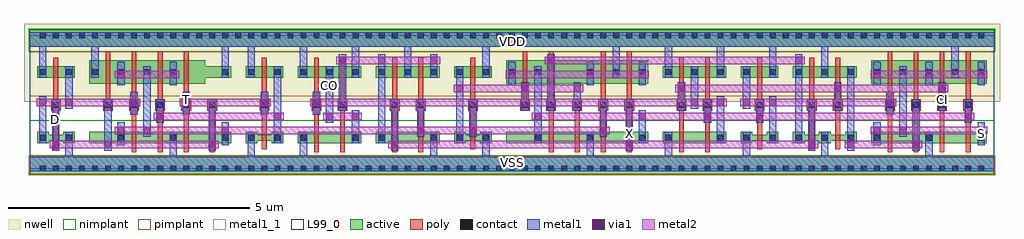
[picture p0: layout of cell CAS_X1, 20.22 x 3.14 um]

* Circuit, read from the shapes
.subckt CAS_X1 CI CO D S T VDD VSS X
M1 VSS D n1 VSS nfet w=0.12u l=0.1u
M2 n2 n1 n3 VSS nfet w=0.24u l=0.1u
M3 VSS n4 n2 VSS nfet w=0.24u l=0.1u
M4 n5 T VSS VSS nfet w=0.24u l=0.1u
M5 n3 D n5 VSS nfet w=0.24u l=0.1u
M6 n4 T VSS VSS nfet w=0.12u l=0.1u
M7 n6 n7 VSS VSS nfet w=0.24u l=0.1u
M8 CO n8 n6 VSS nfet w=0.24u l=0.1u
M9 n9 X n8 VSS nfet w=0.24u l=0.1u
M10 VSS n3 n9 VSS nfet w=0.24u l=0.1u
M11 VSS n3 n10 VSS nfet w=0.12u l=0.1u
M12 n11 n12 n13 VSS nfet w=0.24u l=0.1u
M13 VSS n10 n11 VSS nfet w=0.24u l=0.1u
M14 n14 n3 VSS VSS nfet w=0.24u l=0.1u
M15 n13 X n14 VSS nfet w=0.24u l=0.1u
M16 n15 CI VSS VSS nfet w=0.24u l=0.1u
M17 n7 n13 n15 VSS nfet w=0.24u l=0.1u
M18 n16 n13 VSS VSS nfet w=0.12u l=0.1u
M19 VSS X n12 VSS nfet w=0.12u l=0.1u
M20 n17 CI VSS VSS nfet w=0.12u l=0.1u
M21 n18 n16 S VSS nfet w=0.24u l=0.1u
M22 VSS n17 n18 VSS nfet w=0.24u l=0.1u
M23 n19 CI VSS VSS nfet w=0.24u l=0.1u
M24 S n13 n19 VSS nfet w=0.24u l=0.1u
M25 n1 D VDD VDD pfet w=0.24u l=0.1u
M26 n20 D VDD VDD pfet w=0.48u l=0.1u
M27 n3 n1 n20 VDD pfet w=0.48u l=0.1u
M28 n20 n4 n3 VDD pfet w=0.48u l=0.1u
M29 VDD T n20 VDD pfet w=0.48u l=0.1u
M30 n4 T VDD VDD pfet w=0.24u l=0.1u
M31 CO n7 VDD VDD pfet w=0.24u l=0.1u
M32 VDD n8 CO VDD pfet w=0.24u l=0.1u
M33 VDD X n8 VDD pfet w=0.24u l=0.1u
M34 n8 n3 VDD VDD pfet w=0.24u l=0.1u
M35 VDD n3 n10 VDD pfet w=0.24u l=0.1u
M36 n13 n10 n21 VDD pfet w=0.48u l=0.1u
M37 n21 n12 n13 VDD pfet w=0.48u l=0.1u
M38 VDD n3 n21 VDD pfet w=0.48u l=0.1u
M39 n21 X VDD VDD pfet w=0.48u l=0.1u
M40 n7 CI VDD VDD pfet w=0.24u l=0.1u
M41 VDD n13 n7 VDD pfet w=0.24u l=0.1u
M42 VDD n13 n16 VDD pfet w=0.24u l=0.1u
M43 VDD X n12 VDD pfet w=0.24u l=0.1u
M44 n17 CI VDD VDD pfet w=0.24u l=0.1u
M45 S n16 n22 VDD pfet w=0.48u l=0.1u
M46 n22 n17 S VDD pfet w=0.48u l=0.1u
M47 VDD CI n22 VDD pfet w=0.48u l=0.1u
M48 n22 n13 VDD VDD pfet w=0.48u l=0.1u
.ends

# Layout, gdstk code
import gdstk
lib = gdstk.Library(unit=1e-6, precision=5e-10)
def R(c, l, rs):  # rectangles x0, y0, x1, y1
    for r in rs: c.add(gdstk.rectangle(r[:2], r[2:], *l))
def A(c, l, x, y, w, h, nx, ny, dx, dy):  # array of equal rectangles
    R(c, l, [(x+i*dx, y+j*dy, x+i*dx+w, y+j*dy+h) for i in range(nx) for j in range(ny)])
active = (1, 0)
nwell = (2, 0)
poly = (3, 0)
nimplant = (4, 0)
pimplant = (5, 0)
contact = (6, 0)
metal1 = (7, 0)
metal1_1 = (7, 1)
via1 = (8, 0)
metal2 = (9, 0)
L99_0 = (99, 0)

cas_x1 = lib.new_cell('CAS_X1')
A(cas_x1, active, 0.15, 0.52, 0.24, 0.24, 37, 1, 0.54, 0)
A(cas_x1, active, 1.47, 0.52, 0.3, 0.24, 5, 1, 0.54, 0)
A(cas_x1, active, 10.11, 0.52, 0.3, 0.24, 5, 1, 0.54, 0)
A(cas_x1, active, 17.67, 0.52, 0.3, 0.24, 4, 1, 0.54, 0)
A(cas_x1, active, 0.39, 0.58, 0.3, 0.12, 3, 1, 4.32, 0)
A(cas_x1, active, 1.23, 1.76, 0.24, 0.48, 5, 1, 0.54, 0)
A(cas_x1, active, 1.47, 1.76, 0.3, 0.48, 4, 1, 0.54, 0)
A(cas_x1, active, 9.87, 1.76, 0.24, 0.48, 6, 1, 0.54, 0)
A(cas_x1, active, 10.11, 1.76, 0.3, 0.48, 5, 1, 0.54, 0)
A(cas_x1, active, 17.43, 1.76, 0.24, 0.48, 5, 1, 0.54, 0)
A(cas_x1, active, 17.67, 1.76, 0.3, 0.48, 4, 1, 0.54, 0)
A(cas_x1, active, 3.63, 1.88, 0.3, 0.24, 3, 1, 1.08, 0)
A(cas_x1, active, 3.93, 1.88, 0.24, 0.24, 11, 1, 0.54, 0)
A(cas_x1, active, 13.11, 1.88, 0.24, 0.24, 8, 1, 0.54, 0)
A(cas_x1, active, 13.89, 1.88, 0.3, 0.24, 3, 1, 1.08, 0)
R(cas_x1, active, [(0,-0.12,19.98,0.24), (5.79,0.52,6.09,0.76), (6.33,0.52,6.63,0.76), (7.41,0.52,7.71,0.76), (7.95,0.52,8.25,0.76), (13.35,0.52,13.65,0.76), (13.89,0.52,14.19,0.76), (14.97,0.58,15.27,0.7), (16.05,0.58,16.35,0.7), (16.59,0.58,16.89,0.7), (0.15,1.88,0.39,2.12), (0.39,1.88,0.69,2.12), (0.69,1.88,0.93,2.12), (6.33,1.88,6.63,2.12), (7.41,1.88,7.71,2.12), (7.95,1.88,8.25,2.12), (9.03,1.88,9.33,2.12), (13.35,1.88,13.65,2.12), (16.59,1.88,16.89,2.12), (0,2.52,19.98,2.88)])
R(cas_x1, nwell, [(-0.12,1.38,20.1,3)])
A(cas_x1, poly, 2.11, 0.34, 0.1, 2.08, 3, 1, 0.54, 0)
A(cas_x1, poly, 17.77, 0.34, 0.1, 2.08, 4, 1, 0.54, 0)
A(cas_x1, poly, 0.49, 0.4, 0.1, 1.9, 3, 1, 4.32, 0)
A(cas_x1, poly, 1.52, 1.2, 0.2, 0.24, 5, 1, 0.54, 0)
A(cas_x1, poly, 8, 1.2, 0.2, 0.24, 3, 1, 1.08, 0)
A(cas_x1, poly, 10.7, 1.2, 0.2, 0.24, 4, 1, 0.54, 0)
A(cas_x1, poly, 13.94, 1.2, 0.2, 0.24, 3, 1, 1.08, 0)
A(cas_x1, poly, 17.72, 1.2, 0.2, 0.24, 4, 1, 0.54, 0)
R(cas_x1, poly, [(3.73,0.34,3.83,1.44), (5.89,0.34,5.99,2.3), (6.43,0.34,6.53,2.3), (7.51,0.34,7.61,2.3), (8.05,0.34,8.15,2.3), (10.75,0.34,10.85,2.42), (11.29,0.34,11.39,1.44), (11.83,0.34,11.93,2.42), (12.37,0.34,12.47,2.42), (13.45,0.34,13.55,2.3), (13.99,0.34,14.09,2.3), (15.07,0.4,15.17,2.3), (16.15,0.4,16.25,2.3), (16.69,0.4,16.79,2.3), (0.44,1.2,0.64,1.44), (1.57,1.2,1.67,2.42), (4.76,1.2,4.96,1.44), (5.84,1.2,6.04,1.44), (6.38,1.2,6.58,1.44), (7.46,1.2,7.66,1.44), (10.21,1.2,10.31,2.42), (13.4,1.2,13.6,1.44), (16.64,1.2,16.84,1.44)])
R(cas_x1, nimplant, [(0,0.26,19.98,1), (-0.02,2.42,20,2.9)])
R(cas_x1, pimplant, [(-0.02,-0.14,20,0.26), (0,1.5,19.98,2.42)])
A(cas_x1, contact, 0.21, -0.06, 0.12, 0.12, 73, 2, 0.27, 2.76)
A(cas_x1, contact, 0.75, 0.58, 0.12, 0.12, 4, 1, 1.08, 0)
A(cas_x1, contact, 4.53, 0.58, 0.12, 0.12, 3, 1, 0.54, 0)
A(cas_x1, contact, 8.31, 0.58, 0.12, 0.12, 3, 1, 0.54, 0)
A(cas_x1, contact, 10.47, 0.58, 0.12, 0.12, 3, 1, 1.08, 0)
A(cas_x1, contact, 14.25, 0.58, 0.12, 0.12, 7, 1, 0.54, 0)
A(cas_x1, contact, 1.56, 1.26, 0.12, 0.12, 5, 1, 0.54, 0)
A(cas_x1, contact, 8.04, 1.26, 0.12, 0.12, 3, 1, 1.08, 0)
A(cas_x1, contact, 10.74, 1.26, 0.12, 0.12, 4, 1, 0.54, 0)
A(cas_x1, contact, 13.98, 1.26, 0.12, 0.12, 3, 1, 1.08, 0)
A(cas_x1, contact, 17.76, 1.26, 0.12, 0.12, 4, 1, 0.54, 0)
A(cas_x1, contact, 0.21, 1.94, 0.12, 0.12, 6, 1, 0.54, 0)
A(cas_x1, contact, 3.99, 1.94, 0.12, 0.12, 13, 1, 0.54, 0)
A(cas_x1, contact, 11.55, 1.94, 0.12, 0.12, 16, 1, 0.54, 0)
R(cas_x1, contact, [(0.21,0.58,0.33,0.7), (6.69,0.58,6.81,0.7), (7.23,0.58,7.35,0.7), (13.17,0.58,13.29,0.7), (18.57,0.58,18.69,0.7), (19.65,0.58,19.77,0.7), (0.48,1.26,0.6,1.38), (4.8,1.26,4.92,1.38), (5.88,1.26,6,1.38), (6.42,1.26,6.54,1.38), (7.5,1.26,7.62,1.38), (13.44,1.26,13.56,1.38), (16.68,1.26,16.8,1.38)])
A(cas_x1, metal1, 11.535, 0, 0.15, 0.76, 4, 1, 1.62, 0)
A(cas_x1, metal1, 17.475, 1.73, 0.15, 0.48, 3, 1, 1.08, 0)
A(cas_x1, metal1, 4.515, 1.88, 0.15, 0.88, 4, 1, 1.08, 0)
A(cas_x1, metal1, 12.075, 1.88, 0.15, 0.88, 5, 1, 1.08, 0)
R(cas_x1, metal1, [(0,-0.06,19.98,0.24), (0.735,0,0.885,0.76), (2.895,0,3.045,0.76), (4.515,0,4.665,0.76), (5.595,0,5.745,0.76), (8.295,0,8.445,0.76), (9.375,0,9.525,0.76), (18.555,0,18.705,0.76), (0.465,0.37,0.615,1.44), (1.545,0.37,1.695,1.44), (3.705,0.37,3.855,1.44), (7.485,0.37,7.635,1.44), (12.345,0.37,12.495,1.44), (16.125,0.37,16.275,1.44), (16.935,0.37,17.085,2.12), (18.285,0.37,18.435,1.44), (1.815,0.48,1.965,0.96), (3.975,0.48,4.125,0.96), (17.475,0.48,17.625,0.96), (19.635,0.48,19.785,0.96), (0.195,0.52,0.345,1.5), (5.055,0.52,5.205,2.12), (6.675,0.52,6.825,1.21), (7.215,0.52,7.365,2.37), (8.835,0.52,8.985,2.12), (10.455,0.52,10.605,2.12), (12.615,0.52,12.765,1.21), (14.235,0.52,14.385,1.5), (15.315,0.52,15.465,1.5), (15.855,0.52,16.005,2.37), (2.355,0.66,2.505,2.12), (8.025,0.66,8.175,1.44), (9.105,0.66,9.255,1.44), (11.805,0.66,11.955,1.44), (18.015,0.66,18.165,2.12), (2.625,0.95,2.775,1.44), (6.135,0.95,6.285,2.12), (13.965,0.95,14.115,1.44), (15.045,0.95,15.195,1.44), (19.365,0.95,19.515,1.44), (2.085,1.11,2.235,1.59), (3.165,1.11,3.315,1.59), (4.785,1.11,4.935,1.59), (5.865,1.11,6.015,1.59), (17.745,1.11,17.895,1.59), (6.405,1.2,6.555,2.37), (10.185,1.2,10.335,1.79), (10.725,1.2,10.875,2.37), (11.265,1.2,11.415,1.79), (13.425,1.2,13.575,1.79), (16.665,1.2,16.815,1.79), (18.825,1.2,18.975,1.79), (0.735,1.24,0.885,2.12), (13.695,1.24,13.845,2.12), (14.775,1.24,14.925,2.12), (1.815,1.73,1.965,2.21), (2.895,1.73,3.045,2.21), (9.915,1.73,10.065,2.21), (11.535,1.73,11.685,2.21), (12.615,1.73,12.765,2.21), (0.195,1.88,0.345,2.76), (1.275,1.88,1.425,2.76), (3.975,1.88,4.125,2.76), (8.295,1.88,8.445,2.37), (9.375,1.88,9.525,2.76), (19.095,1.88,19.245,2.76), (0,2.52,19.98,2.82)])
R(cas_x1, metal1_1, [(0,0,19.98,0.24), (12.345,0.59,12.495,0.86), (19.635,0.59,19.785,0.86), (0.465,0.88,0.615,1.15), (3.165,1.3,3.315,1.57), (18.825,1.3,18.975,1.57), (6.135,1.59,6.285,1.86), (0,2.52,19.98,2.76)])
A(cas_x1, via1, 13.7, 1.3, 0.14, 0.14, 4, 1, 0.54, 0)
A(cas_x1, via1, 17.48, 1.88, 0.14, 0.14, 3, 1, 1.08, 0)
R(cas_x1, via1, [(0.47,0.43,0.61,0.57), (1.55,0.43,1.69,0.57), (3.71,0.43,3.85,0.57), (7.49,0.43,7.63,0.57), (12.35,0.43,12.49,0.57), (16.13,0.43,16.27,0.57), (16.94,0.43,17.08,0.57), (18.29,0.43,18.43,0.57), (1.82,0.72,1.96,0.86), (2.36,0.72,2.5,0.86), (3.98,0.72,4.12,0.86), (8.03,0.72,8.17,0.86), (9.11,0.72,9.25,0.86), (11.81,0.72,11.95,0.86), (17.48,0.72,17.62,0.86), (18.02,0.72,18.16,0.86), (19.64,0.72,19.78,0.86), (2.63,1.01,2.77,1.15), (5.06,1.01,5.2,1.15), (6.14,1.01,6.28,1.15), (6.68,1.01,6.82,1.15), (10.46,1.01,10.6,1.15), (12.62,1.01,12.76,1.15), (13.97,1.01,14.11,1.15), (15.05,1.01,15.19,1.15), (19.37,1.01,19.51,1.15), (0.2,1.3,0.34,1.44), (0.74,1.3,0.88,1.44), (2.09,1.3,2.23,1.44), (3.17,1.3,3.31,1.44), (4.79,1.3,4.93,1.44), (5.87,1.3,6.01,1.44), (17.75,1.3,17.89,1.44), (8.84,1.59,8.98,1.73), (10.19,1.59,10.33,1.73), (11.27,1.59,11.41,1.73), (13.43,1.59,13.57,1.73), (16.67,1.59,16.81,1.73), (18.83,1.59,18.97,1.73), (1.82,1.88,1.96,2.02), (2.9,1.88,3.04,2.02), (9.92,1.88,10.06,2.02), (11.54,1.88,11.68,2.02), (12.62,1.88,12.76,2.02), (6.41,2.17,6.55,2.31), (7.22,2.17,7.36,2.31), (8.3,2.17,8.44,2.31), (10.73,2.17,10.87,2.31), (15.86,2.17,16,2.31)])
R(cas_x1, metal2, [(0.41,0.425,3.91,0.575), (7.43,0.425,16.33,0.575), (16.88,0.425,18.49,0.575), (1.76,0.715,12.01,0.865), (17.42,0.715,19.84,0.865), (2.57,1.005,5.26,1.155), (6.08,1.005,6.88,1.155), (10.4,1.005,19.57,1.155), (0.14,1.295,2.29,1.445), (3.11,1.295,4.99,1.445), (5.81,1.295,14.44,1.445), (14.72,1.295,17.95,1.445), (8.78,1.585,11.47,1.735), (13.37,1.585,19.03,1.735), (1.76,1.875,3.1,2.025), (9.86,1.875,12.82,2.025), (17.42,1.875,19.84,2.025), (6.35,2.165,8.5,2.315), (10.67,2.165,16.06,2.315)])
R(cas_x1, L99_0, [(0,0,19.98,2.76)])
cas_x1.add(gdstk.Label('CO', (6.21,1.725), layer=7, texttype=3))
cas_x1.add(gdstk.Label('S', (19.71,0.725), layer=7, texttype=3))
cas_x1.add(gdstk.Label('CI', (18.9,1.435), layer=7, texttype=3))
cas_x1.add(gdstk.Label('T', (3.24,1.435), layer=7, texttype=3))
cas_x1.add(gdstk.Label('D', (0.54,1.015), layer=7, texttype=3))
cas_x1.add(gdstk.Label('X', (12.42,0.725), layer=7, texttype=3))
cas_x1.add(gdstk.Label('VDD', (9.99,2.64), layer=7, texttype=3))
cas_x1.add(gdstk.Label('VSS', (9.99,0.12), layer=7, texttype=3))

lib.write_gds('CAS_X1.gds')
